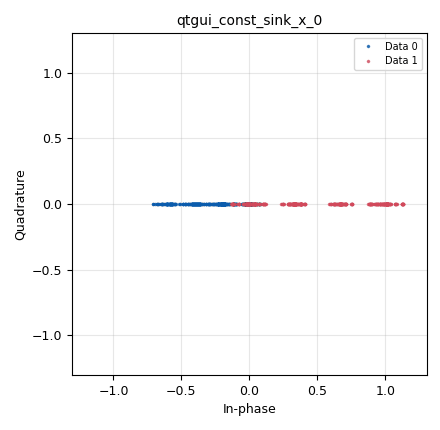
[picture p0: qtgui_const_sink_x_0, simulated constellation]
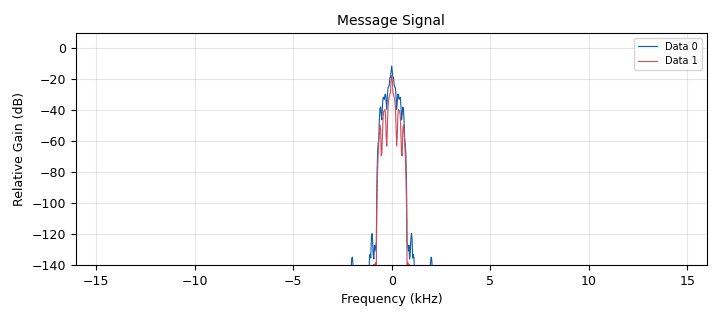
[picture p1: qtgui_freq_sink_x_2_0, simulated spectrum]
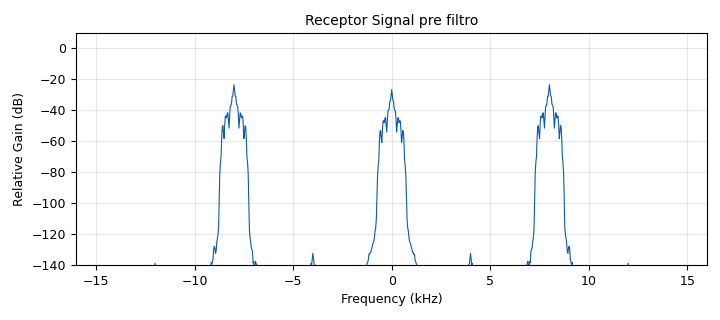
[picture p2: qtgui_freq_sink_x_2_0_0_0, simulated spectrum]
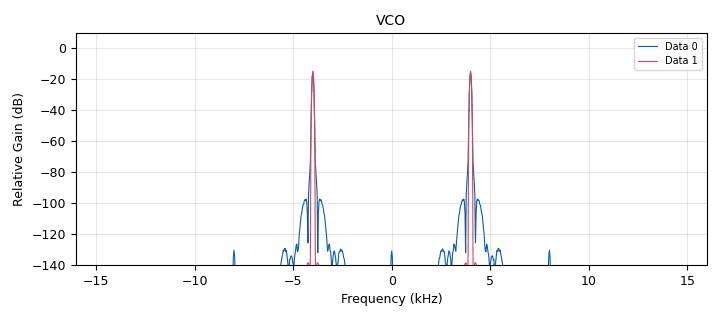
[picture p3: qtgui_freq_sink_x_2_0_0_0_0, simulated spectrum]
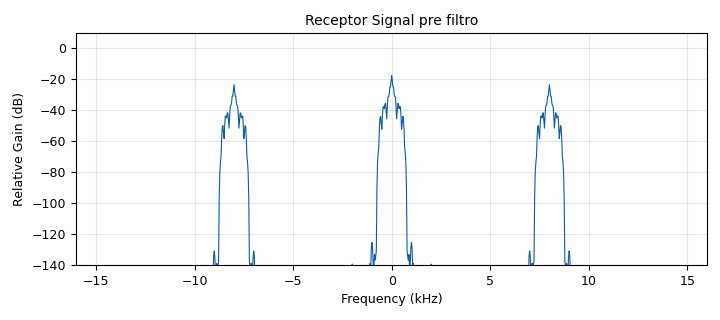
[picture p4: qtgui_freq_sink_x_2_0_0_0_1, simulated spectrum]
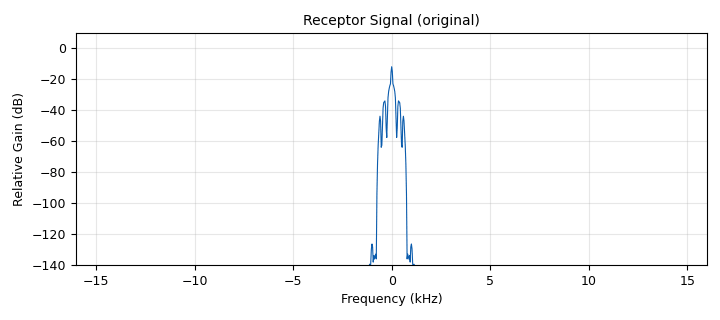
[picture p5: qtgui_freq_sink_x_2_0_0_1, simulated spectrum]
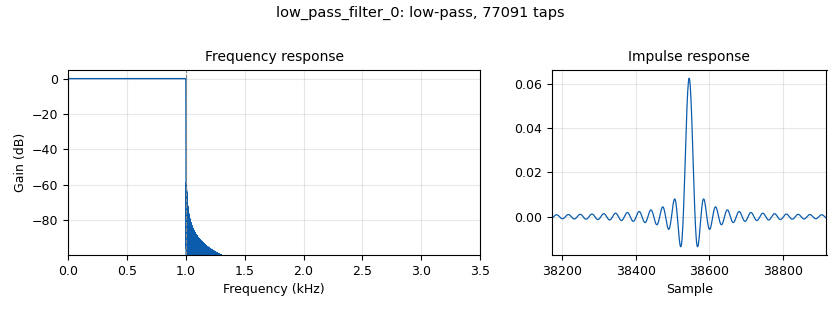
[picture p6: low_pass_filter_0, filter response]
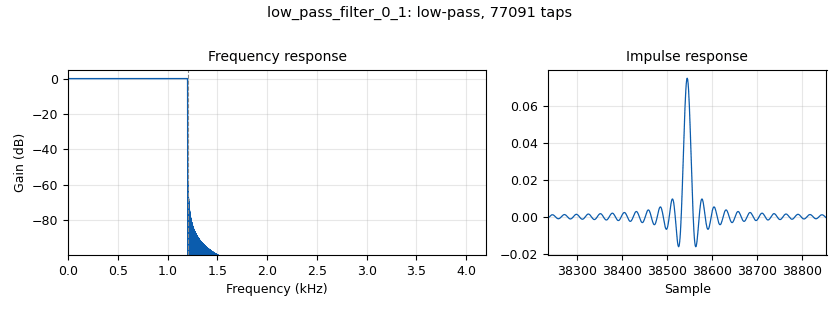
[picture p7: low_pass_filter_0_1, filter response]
options:
  parameters:
    author: caior
    generate_options: qt_gui
    id: AM_Implementation
    output_language: python
    title: Not titled yet
  states: {}

blocks:
- name: AM
  id: variable_constellation
  parameters:
    const_points: '[0,1,2,3]'
    dims: '1'
    normalization: digital.constellation.AMPLITUDE_NORMALIZATION
    precision: '8'
    rot_sym: '4'
    sym_map: '[0,1,2,3]'
    type: calcdist
  states: {}
- name: FreqOffset
  id: variable_qtgui_range
  parameters:
    gui_hint: 5,0,1,2
    label: Carrier Freq Offset
    start: '-100'
    step: '1'
    stop: '100'
    value: '0'
    widget: eng_slider
  states: {}
- name: LPrec
  id: variable_qtgui_range
  parameters:
    label: Low Pass receptor Filter
    start: '0.2'
    step: '0.05'
    stop: '2'
    value: '1'
    widget: eng_slider
  states: {}
- name: SPS
  id: variable
  parameters:
    value: '32'
  states: {}
- name: loopF
  id: variable_qtgui_range
  parameters:
    label: Loop Filter PLL
    start: '0.001'
    step: '0.001'
    stop: '0.05'
    value: '0.03'
    widget: eng_slider
  states: {}
- name: noise
  id: variable_qtgui_range
  parameters:
    gui_hint: 2,0,1,2
    label: noise
    start: '0'
    step: '0.01'
    stop: '1'
    value: '0'
  states: {}
- name: samp_rate
  id: variable
  parameters:
    value: '32000'
  states: {}
- name: analog_noise_source_x_0
  id: analog_noise_source_x
  parameters:
    amp: noise
    noise_type: analog.GR_GAUSSIAN
    seed: '0'
    type: float
  states: {}
- name: analog_pll_freqdet_cf_1
  id: analog_pll_freqdet_cf
  parameters:
    max_freq: 2* math.pi * (4*samp_rate//SPS + 100) / samp_rate
    min_freq: 2* math.pi * (4*samp_rate//SPS - 100) / samp_rate
    w: loopF*math.pi/100
  states: {}
- name: analog_random_source_x_0
  id: analog_random_source_x
  parameters:
    max: '4'
    min: '0'
    num_samps: '1000'
    repeat: 'True'
    type: byte
  states: {}
- name: analog_sig_source_x_0
  id: analog_sig_source_x
  parameters:
    amp: '1'
    freq: 4*samp_rate//SPS + FreqOffset
    offset: '0'
    phase: '0'
    samp_rate: samp_rate
    type: float
    waveform: analog.GR_COS_WAVE
  states: {}
- name: analog_sig_source_x_0_0
  id: analog_sig_source_x
  parameters:
    amp: '1'
    freq: 4*samp_rate//SPS
    offset: '0'
    phase: '0'
    samp_rate: samp_rate
    type: float
    waveform: analog.GR_COS_WAVE
  states: {}
- name: blocks_add_const_vxx_0
  id: blocks_add_const_vxx
  parameters:
    const: '0'
    type: float
  states: {}
- name: blocks_add_xx_0
  id: blocks_add_xx
  parameters:
    type: float
  states: {}
- name: blocks_complex_to_float_0
  id: blocks_complex_to_float
  parameters: {}
  states: {}
- name: blocks_float_to_complex_0
  id: blocks_float_to_complex
  parameters: {}
  states: {}
- name: blocks_float_to_complex_1
  id: blocks_float_to_complex
  parameters: {}
  states: {}
- name: blocks_float_to_complex_1_0
  id: blocks_float_to_complex
  parameters: {}
  states: {}
- name: blocks_multiply_const_vxx_0
  id: blocks_multiply_const_vxx
  parameters:
    const: (samp_rate)/(2*math.pi)
    type: float
  states: {}
- name: blocks_multiply_xx_0
  id: blocks_multiply_xx
  parameters:
    type: float
  states: {}
- name: blocks_multiply_xx_0_0
  id: blocks_multiply_xx
  parameters:
    type: float
  states: {}
- name: blocks_multiply_xx_0_0_0
  id: blocks_multiply_xx
  parameters:
    type: float
  states: {}
- name: blocks_throttle2_0
  id: blocks_throttle2
  parameters:
    samples_per_second: samp_rate
    type: complex
  states: {}
- name: blocks_vco_f_0
  id: blocks_vco_f
  parameters:
    amplitude: '1'
    samp_rate: samp_rate
    sensitivity: (2*math.pi)
  states: {}
- name: digital_constellation_modulator_0
  id: digital_constellation_modulator
  parameters:
    constellation: AM
    differential: 'True'
    excess_bw: '0.35'
    samples_per_symbol: SPS
  states: {}
- name: digital_symbol_sync_xx_0
  id: digital_symbol_sync_xx
  parameters:
    damping: '1.0'
    loop_bw: '0.005'
    max_dev: '0.5'
    osps: '1'
    resamp_type: digital.IR_MMSE_8TAP
    sps: SPS
    ted_gain: '1.0'
    ted_type: digital.TED_EARLY_LATE
    type: cc
  states: {}
- name: digital_symbol_sync_xx_0_0
  id: digital_symbol_sync_xx
  parameters:
    damping: '1.0'
    loop_bw: '0.005'
    max_dev: '0.5'
    osps: '1'
    resamp_type: digital.IR_MMSE_8TAP
    sps: SPS
    ted_gain: '1.0'
    ted_type: digital.TED_EARLY_LATE
    type: cc
  states: {}
- name: import_0
  id: import
  parameters:
    imports: import math
  states: {}
- name: low_pass_filter_0
  id: low_pass_filter
  parameters:
    beta: '0.1'
    cutoff_freq: LPrec*samp_rate//SPS
    decim: '1'
    gain: '1'
    samp_rate: samp_rate
    type: fir_filter_fff
    width: '1'
    win: window.WIN_HAMMING
  states: {}
- name: low_pass_filter_0_1
  id: low_pass_filter
  parameters:
    cutoff_freq: 1.2*samp_rate//SPS
    decim: '1'
    gain: '1'
    samp_rate: samp_rate
    type: fir_filter_fff
    width: '1'
    win: window.WIN_HAMMING
  states: {}
- name: qtgui_const_sink_x_0
  id: qtgui_const_sink_x
  parameters:
    autoscale: 'True'
    gui_hint: 4,1,1,1
    nconnections: '2'
    size: int(SPS*SPS/2)
    type: complex
    update_time: '0.2'
    xmax: '3.5'
    xmin: '-0.5'
    ymax: '1'
    ymin: '-1'
  states: {}
- name: qtgui_freq_sink_x_2_0
  id: qtgui_freq_sink_x
  parameters:
    bw: samp_rate
    fc: '0'
    fftsize: '1024'
    gui_hint: 0,1,1,1
    name: Message Signal
    nconnections: '2'
    type: float
    update_time: '0.1'
  states: {}
- name: qtgui_freq_sink_x_2_0_0_0
  id: qtgui_freq_sink_x
  parameters:
    bw: samp_rate
    fc: '0'
    fftsize: '1024'
    name: Receptor Signal pre filtro
    type: float
    update_time: '0.1'
  states: {}
- name: qtgui_freq_sink_x_2_0_0_0_0
  id: qtgui_freq_sink_x
  parameters:
    bw: samp_rate
    fc: '0'
    fftsize: '1024'
    name: VCO
    nconnections: '2'
    type: float
    update_time: '0.1'
  states: {}
- name: qtgui_freq_sink_x_2_0_0_0_1
  id: qtgui_freq_sink_x
  parameters:
    bw: samp_rate
    fc: '0'
    fftsize: '1024'
    name: Receptor Signal pre filtro
    type: float
    update_time: '0.1'
  states: {}
- name: qtgui_freq_sink_x_2_0_0_1
  id: qtgui_freq_sink_x
  parameters:
    bw: samp_rate
    fc: '0'
    fftsize: '1024'
    name: Receptor Signal (original)
    type: float
    update_time: '0.1'
  states: {}
- name: qtgui_time_sink_x_0_0_0_0
  id: qtgui_time_sink_x
  parameters:
    gui_hint: 4,0,1,1
    name: Receptor Signal
    size: int(1024*8)
    srate: samp_rate
    type: float
    update_time: '0.1'
  states: {}
- name: qtgui_time_sink_x_0_0_0_0_0
  id: qtgui_time_sink_x
  parameters:
    autoscale: 'True'
    name: Receptor Signal (original)
    size: int(1024*8)
    srate: samp_rate
    type: float
    update_time: '0.1'
    ymax: '2.5'
    ymin: '-0.5'
  states: {}
- name: qtgui_time_sink_x_0_0_0_1_0
  id: qtgui_time_sink_x
  parameters:
    name: Channel Signal
    size: int(1024*8)
    srate: samp_rate
    type: float
    ymax: '3850'
    ymin: '4150'
  states: {}
- name: qtgui_time_sink_x_0_0_1
  id: qtgui_time_sink_x
  parameters:
    autoscale: 'True'
    gui_hint: 0,0,1,1
    name: Message Signal
    size: int(1024*8)
    srate: samp_rate
    type: float
    update_time: '0.1'
  states: {}

connections:
- [analog_noise_source_x_0, '0', blocks_add_xx_0, '1']
- [analog_pll_freqdet_cf_1, '0', blocks_multiply_const_vxx_0, '0']
- [analog_random_source_x_0, '0', digital_constellation_modulator_0, '0']
- [analog_sig_source_x_0, '0', blocks_add_const_vxx_0, '0']
- [analog_sig_source_x_0_0, '0', blocks_multiply_xx_0_0_0, '1']
- [analog_sig_source_x_0_0, '0', qtgui_freq_sink_x_2_0_0_0_0, '1']
- [blocks_add_const_vxx_0, '0', blocks_multiply_xx_0, '1']
- [blocks_add_xx_0, '0', blocks_float_to_complex_0, '0']
- [blocks_add_xx_0, '0', blocks_multiply_xx_0_0, '0']
- [blocks_add_xx_0, '0', blocks_multiply_xx_0_0_0, '0']
- [blocks_complex_to_float_0, '0', blocks_multiply_xx_0, '0']
- [blocks_complex_to_float_0, '0', qtgui_freq_sink_x_2_0, '0']
- [blocks_complex_to_float_0, '0', qtgui_time_sink_x_0_0_1, '0']
- [blocks_float_to_complex_0, '0', analog_pll_freqdet_cf_1, '0']
- [blocks_float_to_complex_1, '0', digital_symbol_sync_xx_0, '0']
- [blocks_float_to_complex_1_0, '0', digital_symbol_sync_xx_0_0, '0']
- [blocks_multiply_const_vxx_0, '0', blocks_vco_f_0, '0']
- [blocks_multiply_const_vxx_0, '0', qtgui_time_sink_x_0_0_0_1_0, '0']
- [blocks_multiply_xx_0, '0', blocks_add_xx_0, '0']
- [blocks_multiply_xx_0_0, '0', low_pass_filter_0, '0']
- [blocks_multiply_xx_0_0, '0', qtgui_freq_sink_x_2_0_0_0, '0']
- [blocks_multiply_xx_0_0_0, '0', low_pass_filter_0_1, '0']
- [blocks_multiply_xx_0_0_0, '0', qtgui_freq_sink_x_2_0_0_0_1, '0']
- [blocks_throttle2_0, '0', blocks_complex_to_float_0, '0']
- [blocks_vco_f_0, '0', blocks_multiply_xx_0_0, '1']
- [blocks_vco_f_0, '0', qtgui_freq_sink_x_2_0_0_0_0, '0']
- [digital_constellation_modulator_0, '0', blocks_throttle2_0, '0']
- [digital_symbol_sync_xx_0, '0', qtgui_const_sink_x_0, '0']
- [digital_symbol_sync_xx_0_0, '0', qtgui_const_sink_x_0, '1']
- [low_pass_filter_0, '0', blocks_float_to_complex_1, '0']
- [low_pass_filter_0, '0', qtgui_freq_sink_x_2_0, '1']
- [low_pass_filter_0, '0', qtgui_time_sink_x_0_0_0_0, '0']
- [low_pass_filter_0_1, '0', blocks_float_to_complex_1_0, '0']
- [low_pass_filter_0_1, '0', qtgui_freq_sink_x_2_0_0_1, '0']
- [low_pass_filter_0_1, '0', qtgui_time_sink_x_0_0_0_0_0, '0']

metadata:
  file_format: 1
  grc_version: 3.10.9.2
